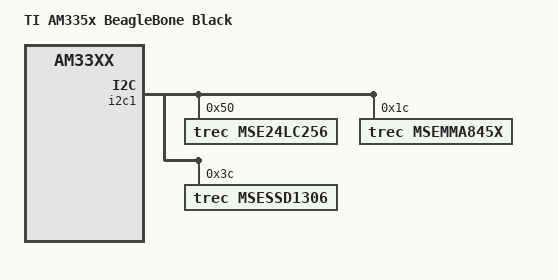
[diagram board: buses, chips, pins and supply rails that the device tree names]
/*
 * Copyright (C) 2012 Texas Instruments Incorporated - http://www.ti.com/
 *
 * This program is free software; you can redistribute it and/or modify
 * it under the terms of the GNU General Public License version 2 as
 * published by the Free Software Foundation.
 */
/dts-v1/;

#include "am33xx.dtsi"
#include "am335x-bone-common.dtsi"
#include "am335x-boneblack-common.dtsi"

/ {
	model = "TI AM335x BeagleBone Black";
	compatible = "ti,am335x-bone-black", "ti,am335x-bone", "ti,am33xx";
};

&cpu0_opp_table {
	/*
	 * All PG 2.0 silicon may not support 1GHz but some of the early
	 * BeagleBone Blacks have PG 2.0 silicon which is guaranteed
	 * to support 1GHz OPP so enable it for PG 2.0 on this board.
	 */
	oppnitro-1000000000 {
		opp-supported-hw = <0x06 0x0100>;
	};
};


// am335x-evm.dts
&am33xx_pinmux {
	i2c1_pins: i2c1_pins {
		pinctrl-single,pins = <
			AM33XX_IOPAD(0x958, PIN_INPUT_PULLUP | MUX_MODE2) /* spi0_d1.i2c1_sda */
			AM33XX_IOPAD(0x95c, PIN_INPUT_PULLUP | MUX_MODE2) /* spi0_cs0.i2c1_scl */
		>;
	};
};

// Habilita el i2c1 (referencias)
// am33xx.dtsi : 414
// am335x-osd3358-sm-red.dts : 419
// am335x-evm.dts : 468  -- mas completo
&i2c1 {
	status = "okay";
	clock-frecuency = <100000>;
	pinctrl-names = "default";
	pinctrl-0 = <&i2c1_pins>;

	// se declaran los dispositivos
	mse24lc256: mse24lc256@50 {
		compatible = "trec,mse24lc256";
		reg = <0x50>;
	};

	mseMMA845X: mseMMA845X@1c {
		compatible = "trec,mseMMA845X";
		reg = <0x1c>;
	};

	mseSSD1306: mseSSD1306@3c {
		compatible = "trec,mseSSD1306";
		reg = <0x3c>;
	};
};

// &i2c2 {
// 	pinctrl-names = "default";
// 	pinctrl-0 = <&i2c2_pins>;
// 	status = "okay";
// 	clock-frequency = <100000>;
// };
